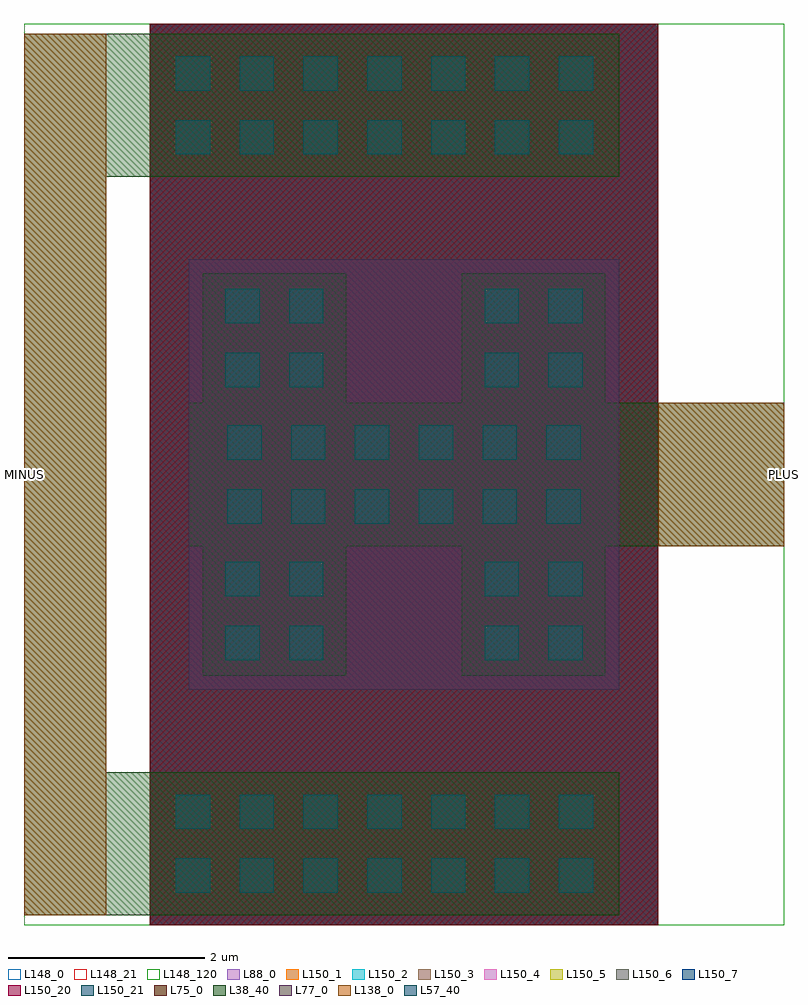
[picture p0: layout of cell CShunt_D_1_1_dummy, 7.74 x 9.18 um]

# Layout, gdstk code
import gdstk
lib = gdstk.Library(unit=1e-6, precision=1e-09)
def R(c, l, rs):  # rectangles x0, y0, x1, y1
    for r in rs: c.add(gdstk.rectangle(r[:2], r[2:], *l))
def A(c, l, x, y, w, h, nx, ny, dx, dy):  # array of equal rectangles
    R(c, l, [(x+i*dx, y+j*dy, x+i*dx+w, y+j*dy+h) for i in range(nx) for j in range(ny)])
L38_40 = (38, 40)
L57_40 = (57, 40)
L75_0 = (75, 0)
L77_0 = (77, 0)
L88_0 = (88, 0)
L138_0 = (138, 0)
L148_0 = (148, 0)
L148_21 = (148, 21)
L148_120 = (148, 120)
L150_1 = (150, 1)
L150_2 = (150, 2)
L150_3 = (150, 3)
L150_4 = (150, 4)
L150_5 = (150, 5)
L150_6 = (150, 6)
L150_7 = (150, 7)
L150_20 = (150, 20)
L150_21 = (150, 21)

cshunt_d_1_1_dummy = lib.new_cell('CShunt_D_1_1_dummy')
R(cshunt_d_1_1_dummy, L38_40, [(-1.68,-2.3,4.38,-0.84), (-1.68,-0.84,-0.84,5.22), (0.14,0.14,1.6,4.24), (2.78,0.14,4.24,4.24), (0,1.46,6.06,2.92), (-1.68,5.22,4.38,6.68)])
A(cshunt_d_1_1_dummy, L57_40, -0.135, -2.07, 0.35, 0.35, 7, 2, 0.65, 0.65)
A(cshunt_d_1_1_dummy, L57_40, 0.39, 1.69, 0.35, 0.35, 6, 2, 0.65, 0.65)
A(cshunt_d_1_1_dummy, L57_40, -0.135, 5.45, 0.35, 0.35, 7, 2, 0.65, 0.65)
R(cshunt_d_1_1_dummy, L57_40, [(0.37,0.3,0.72,0.65), (1.02,0.3,1.37,0.65), (3.01,0.3,3.36,0.65), (3.66,0.3,4.01,0.65), (0.37,0.95,0.72,1.3), (1.02,0.95,1.37,1.3), (3.01,0.95,3.36,1.3), (3.66,0.95,4.01,1.3), (0.37,3.08,0.72,3.43), (1.02,3.08,1.37,3.43), (3.01,3.08,3.36,3.43), (3.66,3.08,4.01,3.43), (0.37,3.73,0.72,4.08), (1.02,3.73,1.37,4.08), (3.01,3.73,3.36,4.08), (3.66,3.73,4.01,4.08)])
R(cshunt_d_1_1_dummy, L75_0, [(-0.4,-2.4,4.78,6.78)])
R(cshunt_d_1_1_dummy, L77_0, [(0,0,4.38,4.38)])
R(cshunt_d_1_1_dummy, L88_0, [(-0.4,-2.4,4.78,6.78)])
R(cshunt_d_1_1_dummy, L138_0, [(-1.68,-2.3,-0.84,6.68), (4.78,1.46,6.06,2.92)])
R(cshunt_d_1_1_dummy, L148_0, [(-1.68,-2.4,6.06,6.78)])
R(cshunt_d_1_1_dummy, L148_21, [(-1.68,-2.4,6.06,6.78)])
R(cshunt_d_1_1_dummy, L148_120, [(-1.68,-2.4,6.06,6.78)])
R(cshunt_d_1_1_dummy, L150_1, [(-0.4,-2.4,4.78,6.78)])
R(cshunt_d_1_1_dummy, L150_2, [(-0.4,-2.4,4.78,6.78)])
R(cshunt_d_1_1_dummy, L150_3, [(-0.4,-2.4,4.78,6.78)])
R(cshunt_d_1_1_dummy, L150_4, [(-0.4,-2.4,4.78,6.78)])
R(cshunt_d_1_1_dummy, L150_5, [(-0.4,-2.4,4.78,6.78)])
R(cshunt_d_1_1_dummy, L150_6, [(-0.4,-2.4,4.78,6.78)])
R(cshunt_d_1_1_dummy, L150_7, [(-0.4,-2.4,4.78,6.78)])
R(cshunt_d_1_1_dummy, L150_20, [(-0.4,-2.4,4.78,6.78)])
R(cshunt_d_1_1_dummy, L150_21, [(-0.4,-2.4,4.78,6.78)])
cshunt_d_1_1_dummy.add(gdstk.Label('MINUS', (-1.68,2.19), layer=138, texttype=0))
cshunt_d_1_1_dummy.add(gdstk.Label('PLUS', (6.06,2.19), layer=138, texttype=0))

lib.write_gds('CShunt_D_1_1_dummy.gds')
